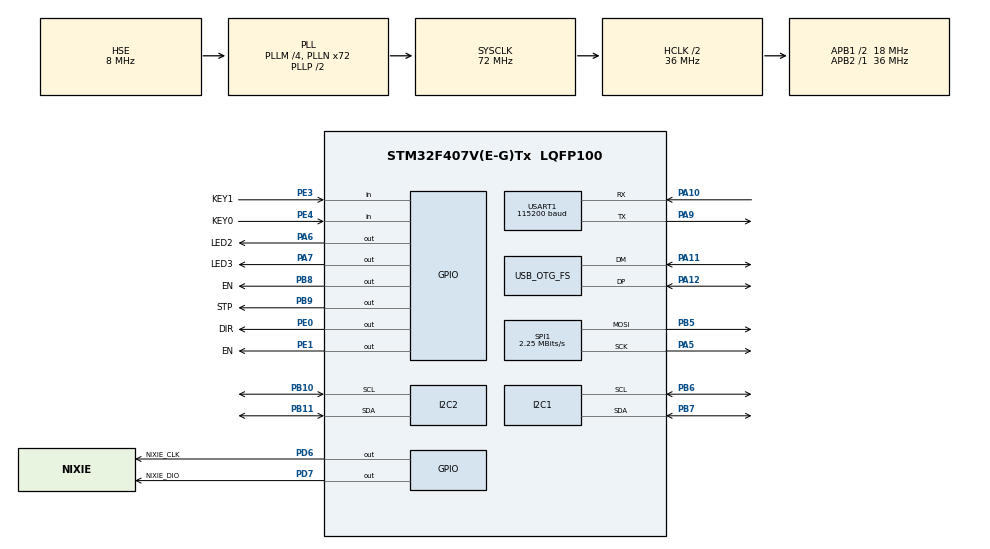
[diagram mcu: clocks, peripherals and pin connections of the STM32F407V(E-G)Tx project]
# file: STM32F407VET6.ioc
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FREERTOS.Queues01=MPU6050_Para,16,uint16_t,0,Dynamic,NULL,NULL
FREERTOS.Tasks01=defaultTask,24,128,StartDefaultTask,Default,NULL,Dynamic,NULL,NULL;myTask02,8,128,StartTask02,Default,NULL,Dynamic,NULL,NULL;MPU6050,55,256,StartMPU6050,Default,NULL,Dynamic,NULL,NULL;OLED_Disp,55,128,StartOledDisp,Default,NULL,Dynamic,NULL,NULL
FREERTOS.configENABLE_FPU=1
I2C1.I2C_Mode=I2C_Fast
Mcu.Family=STM32F4
Mcu.Name=STM32F407V(E-G)Tx
Mcu.Package=LQFP100
NVIC.OTG_FS_IRQn=true\:5\:0\:false\:false\:true\:true\:false\:true\:true
NVIC.PriorityGroup=NVIC_PRIORITYGROUP_4
NVIC.TIM8_TRG_COM_TIM14_IRQn=true\:15\:0\:false\:false\:true\:false\:false\:true\:true
NVIC.TimeBase=TIM8_TRG_COM_TIM14_IRQn
NVIC.TimeBaseIP=TIM14
PA0-WKUP.Mode=SYS_WakeUp0
PA0-WKUP.Signal=SYS_WKUP
PA10.Mode=Asynchronous
PA10.Signal=USART1_RX
PA11.Mode=Device_Only
PA11.Signal=USB_OTG_FS_DM
PA12.Mode=Device_Only
PA12.Signal=USB_OTG_FS_DP
PA13.Mode=Serial_Wire
PA13.Signal=SYS_JTMS-SWDIO
PA14.Mode=Serial_Wire
PA14.Signal=SYS_JTCK-SWCLK
PA5.Mode=TX_Only_Simplex_Unidirect_Master
PA5.Signal=SPI1_SCK
PA6.GPIO_Label=LED2
PA6.GPIO_PuPd=GPIO_NOPULL
PA6.Signal=GPIO_Output
PA7.GPIO_Label=LED3
PA7.GPIO_PuPd=GPIO_NOPULL
PA7.Signal=GPIO_Output
PA9.Mode=Asynchronous
PA9.Signal=USART1_TX
PB10.Mode=I2C
PB10.Signal=I2C2_SCL
PB11.Mode=I2C
PB11.Signal=I2C2_SDA
PB5.Mode=TX_Only_Simplex_Unidirect_Master
PB5.Signal=SPI1_MOSI
PB6.Mode=I2C
PB6.Signal=I2C1_SCL
PB7.Mode=I2C
PB7.Signal=I2C1_SDA
PB8.GPIO_Label=EN
PB8.Signal=GPIO_Output
PB9.GPIO_Label=STP
PB9.GPIO_Speed=GPIO_SPEED_FREQ_VERY_HIGH
PB9.Signal=GPIO_Output
PC14-OSC32_IN.Mode=LSE-External-Oscillator
PC14-OSC32_IN.Signal=RCC_OSC32_IN
PC15-OSC32_OUT.Mode=LSE-External-Oscillator
PC15-OSC32_OUT.Signal=RCC_OSC32_OUT
PD6.GPIO_Label=NIXIE_CLK
PD6.GPIO_ModeDefaultOutputPP=GPIO_MODE_OUTPUT_OD
PD6.GPIO_PuPd=GPIO_PULLUP
PD6.Signal=GPIO_Output
PD7.GPIO_Label=NIXIE_DIO
PD7.GPIO_ModeDefaultOutputPP=GPIO_MODE_OUTPUT_OD
PD7.GPIO_PuPd=GPIO_PULLUP
PD7.Signal=GPIO_Output
PE0.GPIO_Label=DIR
PE0.Signal=GPIO_Output
PE1.GPIO_Label=EN
PE1.GPIO_PuPd=GPIO_PULLUP
PE1.Signal=GPIO_Output
PE3.GPIO_Label=KEY1
PE3.Signal=GPIO_Input
PE4.GPIO_Label=KEY0
PE4.Signal=GPIO_Input
PH0-OSC_IN.Mode=HSE-External-Oscillator
PH0-OSC_IN.Signal=RCC_OSC_IN
PH1-OSC_OUT.Mode=HSE-External-Oscillator
PH1-OSC_OUT.Signal=RCC_OSC_OUT
ProjectManager.HeapSize=0x800
ProjectManager.StackSize=0x800
ProjectManager.TargetToolchain=Makefile
RCC.48MHZClocksFreq_Value=48000000
RCC.AHBCLKDivider=RCC_SYSCLK_DIV2
RCC.AHBFreq_Value=36000000
RCC.APB1CLKDivider=RCC_HCLK_DIV2
RCC.APB1Freq_Value=18000000
RCC.APB1TimFreq_Value=36000000
RCC.APB2Freq_Value=36000000
RCC.APB2TimFreq_Value=36000000
RCC.CortexFreq_Value=36000000
RCC.HCLKFreq_Value=36000000
RCC.HSE_VALUE=8000000
RCC.HSI_VALUE=16000000
RCC.PLLM=4
RCC.PLLN=72
RCC.PLLQ=3
RCC.SYSCLKFreq_VALUE=72000000
RCC.SYSCLKSource=RCC_SYSCLKSOURCE_PLLCLK
RCC.VCOOutputFreq_Value=144000000
SPI1.BaudRatePrescaler=SPI_BAUDRATEPRESCALER_16
SPI1.CalculateBaudRate=2.25 MBits/s
SPI1.Direction=SPI_DIRECTION_2LINES
SPI1.Mode=SPI_MODE_MASTER
SPI1.VirtualType=VM_MASTER
USART1.BaudRate=115200
USART1.VirtualMode=VM_ASYNC
USB_DEVICE.CLASS_NAME_FS=CDC
USB_DEVICE.VirtualMode-CDC_FS=Cdc
USB_DEVICE.VirtualModeFS=Cdc_FS
USB_OTG_FS.VirtualMode=Device_Only
VP_FREERTOS_VS_CMSIS_V2.Mode=CMSIS_V2
VP_SYS_VS_tim14.Mode=TIM14
VP_USB_DEVICE_VS_USB_DEVICE_CDC_FS.Mode=CDC_FS
board=custom

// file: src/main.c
/* USER CODE BEGIN Header */
/**
  ******************************************************************************
  * @file           : main.c
  * @brief          : Main program body
  ******************************************************************************
  * @attention
  *
  * Copyright (c) 2022 STMicroelectronics.
  * All rights reserved.
  *
  * This software is licensed under terms that can be found in the LICENSE file
  * in the root directory of this software component.
  * If no LICENSE file comes with this software, it is provided AS-IS.
  *
  ******************************************************************************
  */
/* USER CODE END Header */
#include "main.h"
#include "cmsis_os.h"
#include "i2c.h"
#include "spi.h"
#include "usart.h"
#include "usb_device.h"
#include "gpio.h"

/* USER CODE BEGIN Includes */
#include "bsp.h"
#include "oled.h"
/* USER CODE END Includes */

void SystemClock_Config(void);
void MX_FREERTOS_Init(void);

/* USER CODE BEGIN 0 */
// void vprint(const char *fmt, va_list argp)
// {
//     char string[200];
//     if(0 < vsprintf(string,fmt,argp)) // build string
//     {
//         HAL_UART_Transmit(&huart1, (uint8_t*)string, strlen(string), 0xffffff); // send message via UART
//     }
// }

// void my_printf(const char *fmt, ...) // custom printf() function
// {
//     va_list argp;
//     va_start(argp, fmt);
//     vprint(fmt, argp);
//     va_end(argp);
// }
/* USER CODE END 0 */

int main(void)
{
  /* USER CODE BEGIN 1 */
  // int fputc(int ch, FILE *f);
  /* USER CODE END 1 */

  /* MCU Configuration--------------------------------------------------------*/

  /* Reset of all peripherals, Initializes the Flash interface and the Systick. */
  HAL_Init();

  /* Configure the system clock */
  SystemClock_Config();

  /* Initialize all configured peripherals */
  MX_GPIO_Init();
  MX_I2C1_Init();
  MX_SPI1_Init();
  MX_USART1_UART_Init();
  MX_I2C2_Init();

  /* Init scheduler */
  osKernelInitialize();  /* Call init function for freertos objects (in freertos.c) */
  MX_FREERTOS_Init();

  /* Start scheduler */
  osKernelStart();

  /* We should never get here as control is now taken by the scheduler */
  /* Infinite loop */
  while (1)
  {

  }
}

void SystemClock_Config(void)
{
  RCC_OscInitTypeDef RCC_OscInitStruct = {0};
  RCC_ClkInitTypeDef RCC_ClkInitStruct = {0};

  /** Configure the main internal regulator output voltage
  */
  __HAL_RCC_PWR_CLK_ENABLE();
  __HAL_PWR_VOLTAGESCALING_CONFIG(PWR_REGULATOR_VOLTAGE_SCALE1);

  /** Initializes the RCC Oscillators according to the specified parameters
  * in the RCC_OscInitTypeDef structure.
  */
  RCC_OscInitStruct.OscillatorType = RCC_OSCILLATORTYPE_HSE;
  RCC_OscInitStruct.HSEState = RCC_HSE_ON;
  RCC_OscInitStruct.PLL.PLLState = RCC_PLL_ON;
  RCC_OscInitStruct.PLL.PLLSource = RCC_PLLSOURCE_HSE;
  RCC_OscInitStruct.PLL.PLLM = 4;
  RCC_OscInitStruct.PLL.PLLN = 72;
  RCC_OscInitStruct.PLL.PLLP = RCC_PLLP_DIV2;
  RCC_OscInitStruct.PLL.PLLQ = 3;
  if (HAL_RCC_OscConfig(&RCC_OscInitStruct) != HAL_OK)
  {
    Error_Handler();
  }

  /** Initializes the CPU, AHB and APB buses clocks
  */
  RCC_ClkInitStruct.ClockType = RCC_CLOCKTYPE_HCLK|RCC_CLOCKTYPE_SYSCLK
                              |RCC_CLOCKTYPE_PCLK1|RCC_CLOCKTYPE_PCLK2;
  RCC_ClkInitStruct.SYSCLKSource = RCC_SYSCLKSOURCE_PLLCLK;
  RCC_ClkInitStruct.AHBCLKDivider = RCC_SYSCLK_DIV2;
  RCC_ClkInitStruct.APB1CLKDivider = RCC_HCLK_DIV2;
  RCC_ClkInitStruct.APB2CLKDivider = RCC_HCLK_DIV1;

  if (HAL_RCC_ClockConfig(&RCC_ClkInitStruct, FLASH_LATENCY_1) != HAL_OK)
  {
    Error_Handler();
  }
}

/* USER CODE BEGIN 4 */
// int fputc(int ch, FILE *f)
// {
// 	HAL_UART_Transmit(&huart1, (uint8_t *)&ch, 1, 0xffff);
// 	return ch;
// }
/* USER CODE END 4 */

void HAL_TIM_PeriodElapsedCallback(TIM_HandleTypeDef *htim)
{
  if (htim->Instance == TIM14) {
    HAL_IncTick();
  }
}

void Error_Handler(void)
{
  __disable_irq();
  while (1)
  {
  }
}

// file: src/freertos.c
/* USER CODE BEGIN Header */
/**
  ******************************************************************************
  * File Name          : freertos.c
  * Description        : Code for freertos applications
  ******************************************************************************
  * @attention
  *
  * Copyright (c) 2022 STMicroelectronics.
  * All rights reserved.
  *
  * This software is licensed under terms that can be found in the LICENSE file
  * in the root directory of this software component.
  * If no LICENSE file comes with this software, it is provided AS-IS.
  *
  ******************************************************************************
  */
/* USER CODE END Header */

#include "FreeRTOS.h"
#include "task.h"
#include "main.h"
#include "cmsis_os.h"

/* USER CODE BEGIN Includes */
#include "queue.h"
#include "bsp.h"
#include "mpu6050.h"
#include "oled.h"
/* USER CODE END Includes */

/* Definitions for defaultTask */
osThreadId_t defaultTaskHandle;
const osThreadAttr_t defaultTask_attributes = {
  .name = "defaultTask",
  .stack_size = 128 * 4,
  .priority = (osPriority_t) osPriorityNormal,
};
/* Definitions for myTask02 */
osThreadId_t myTask02Handle;
const osThreadAttr_t myTask02_attributes = {
  .name = "myTask02",
  .stack_size = 128 * 4,
  .priority = (osPriority_t) osPriorityLow,
};
/* Definitions for MPU6050 */
osThreadId_t MPU6050Handle;
const osThreadAttr_t MPU6050_attributes = {
  .name = "MPU6050",
  .stack_size = 256 * 4,
  .priority = (osPriority_t) osPriorityRealtime7,
};
/* Definitions for OLED_Disp */
osThreadId_t OLED_DispHandle;
const osThreadAttr_t OLED_Disp_attributes = {
  .name = "OLED_Disp",
  .stack_size = 128 * 4,
  .priority = (osPriority_t) osPriorityRealtime7,
};
/* Definitions for MPU6050_Para */
osMessageQueueId_t MPU6050_ParaHandle;
const osMessageQueueAttr_t MPU6050_Para_attributes = {
  .name = "MPU6050_Para"
};

void StartDefaultTask(void *argument);
void StartTask02(void *argument);
void StartMPU6050(void *argument);
void StartOledDisp(void *argument);

extern void MX_USB_DEVICE_Init(void);
void MX_FREERTOS_Init(void); /* (MISRA C 2004 rule 8.1) */

void MX_FREERTOS_Init(void) {

  /* Create the queue(s) */
  /* creation of MPU6050_Para */
  MPU6050_ParaHandle = osMessageQueueNew (16, sizeof(uint16_t), &MPU6050_Para_attributes);

  /* Create the thread(s) */
  /* creation of defaultTask */
  defaultTaskHandle = osThreadNew(StartDefaultTask, NULL, &defaultTask_attributes);

  /* creation of myTask02 */
  myTask02Handle = osThreadNew(StartTask02, NULL, &myTask02_attributes);

  /* creation of MPU6050 */
  MPU6050Handle = osThreadNew(StartMPU6050, NULL, &MPU6050_attributes);

  /* creation of OLED_Disp */
  OLED_DispHandle = osThreadNew(StartOledDisp, NULL, &OLED_Disp_attributes);

}

void StartDefaultTask(void *argument)
{
  /* init code for USB_DEVICE */
  MX_USB_DEVICE_Init();
  /* USER CODE BEGIN StartDefaultTask */
  /* Infinite loop */
  for(;;)
  {
      LED2_Ctrl(ON);
    osDelay(300);
      LED2_Ctrl(OFF);
    osDelay(300);
  }
  /* USER CODE END StartDefaultTask */
}

void StartTask02(void *argument)
{
  /* USER CODE BEGIN StartTask02 */
  /* Infinite loop */
  for(;;)
  {
      LED3_Ctrl(ON);
    osDelay(500);
      LED3_Ctrl(OFF);
    osDelay(500);
  }
  /* USER CODE END StartTask02 */
}

void StartMPU6050(void *argument)
{
  /* USER CODE BEGIN StartMPU6050 */
  char temperature[3] = "111";
  osStatus_t result;
  MPU_Init();

  /* Infinite loop */
  for(;;)
  {
      result = osMessageQueuePut(&MPU6050_ParaHandle,temperature,1,0);
      osDelay(20);
  }
  /* USER CODE END StartMPU6050 */
}

void StartOledDisp(void *argument)
{
    OLED_Init();
    char buffer[] = "1";
  /* USER CODE BEGIN StartOledDisp */
  /* Infinite loop */
  for(;;)
  {
      osMessageQueueGet(MPU6050_ParaHandle,buffer,1,10);
      OLED_ShowString(0,0,buffer,sizeof(buffer));
      osDelay(15);
  }
  /* USER CODE END StartOledDisp */
}
